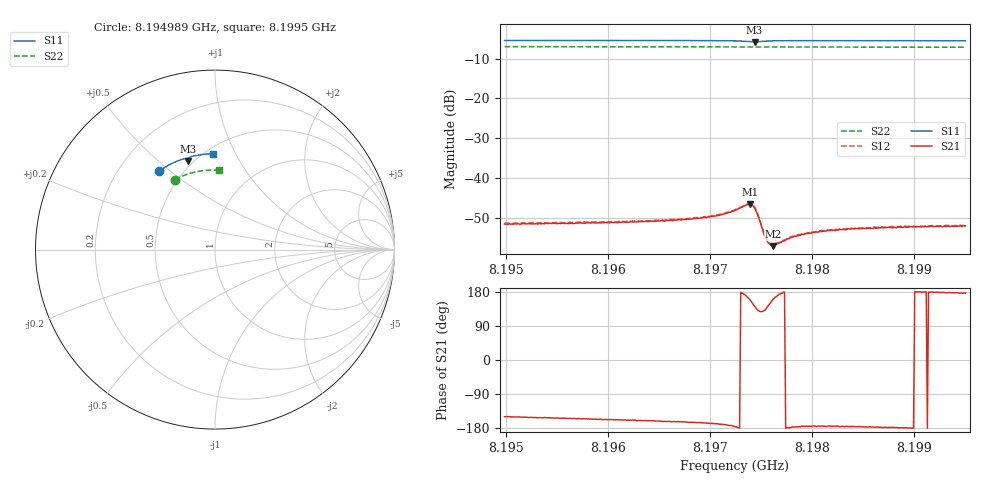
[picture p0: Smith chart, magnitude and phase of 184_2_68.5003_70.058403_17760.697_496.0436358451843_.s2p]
#  HZ  S  RI  R  50.00
! Rohde & Schwarz Vector Network Analyzer
! Rohde-Schwarz,ZNB20-2Port,1311601062101988,3.16
! Created: UTC 3/20/2024, 5:11:58 PM
! freq[Hz]  re:S11  im:S11  re:S21  im:S21  re:S12  im:S12  re:S22  im:S22
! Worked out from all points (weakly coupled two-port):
!   401 points, 8.194989 GHz to 8.1995 GHz, reference 50 ohm
!   highest |S21| = -46.65 dB at 8.197391 GHz (marker M1); lowest = -57.2 dB at 8.197616 GHz (marker M2)
!   lowest |S11| = -5.7 dB at 8.197436 GHz (marker M3), VSWR 3.13, Z = 23.4 + j31.6 ohm
!   |S11| at or under -10 dB: nowhere
!   |S22| runs from -7.1 to -6.9 dB; largest |S21 - S12| = 0.00024
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8.194989e9  -0.3093 0.4399  -0.00227 -0.00133  -0.00239 -0.00129  -0.224 0.3898
8.1957445e9  -0.2636 0.468  -0.00245 -0.00113  -0.00254 -0.00112  -0.1857 0.4083
8.1965e9  -0.2149 0.4916  -0.00271 -0.00093  -0.00283 -0.000856  -0.1458 0.4228
8.1969059e9  -0.1868 0.502  -0.00303 -0.000772  -0.00309 -0.000682  -0.1237 0.4291
8.1970751e9  -0.1739 0.5056  -0.00328 -0.000689  -0.00339 -0.00054  -0.1145 0.4314
8.1972442e9  -0.159 0.5075  -0.00392 -0.00029  -0.00396 -0.000161  -0.1051 0.4334
8.197357e9  -0.1477 0.5028  -0.00447 0.000924  -0.00453 0.00107  -0.0988 0.4343
8.1973908e9  -0.1462 0.4986  -0.00434 0.00168  -0.00436 0.0019  -0.097 0.4347
8.1974134e9  -0.1468 0.4959  -0.00394 0.00223  -0.00389 0.00245  -0.0959 0.4348
8.1974359e9  -0.1494 0.494  -0.00328 0.00258  -0.00326 0.00279  -0.0948 0.435
8.1974698e9  -0.1536 0.4947  -0.00221 0.00251  -0.00213 0.00268  -0.0931 0.4354
8.1975149e9  -0.1558 0.5004  -0.00137 0.00173  -0.00134 0.00184  -0.0907 0.4361
8.1975487e9  -0.1547 0.5045  -0.00122 0.00121  -0.0012 0.00125  -0.0888 0.4365
8.1975825e9  -0.1523 0.5077  -0.00126 0.000786  -0.00124 0.000834  -0.0869 0.4368
8.1976164e9  -0.1497 0.5099  -0.0013 0.000471  -0.00137 0.000538  -0.0848 0.4372
8.1976502e9  -0.1467 0.5119  -0.00143 0.000315  -0.00146 0.000367  -0.0831 0.4375
8.1977968e9  -0.1347 0.5172  -0.00178 -9.8e-05  -0.00182 -1.37e-05  -0.0748 0.4388
8.1979208e9  -0.1253 0.5199  -0.00195 -0.000186  -0.00201 -8.42e-05  -0.0679 0.4397
8.1979997e9  -0.1194 0.5213  -0.00203 -0.000192  -0.00208 -0.000112  -0.0633 0.4403
8.1983719e9  -0.0925 0.5268  -0.00226 -0.000184  -0.00232 -5.89e-05  -0.0423 0.4421
8.1987553e9  -0.0651 0.5305  -0.00239 -9.36e-05  -0.0024 1.01e-05  -0.0206 0.443
8.1994995e9  -0.0121 0.5336  -0.00249 0.000146  -0.00246 0.000269  0.0216 0.4416
